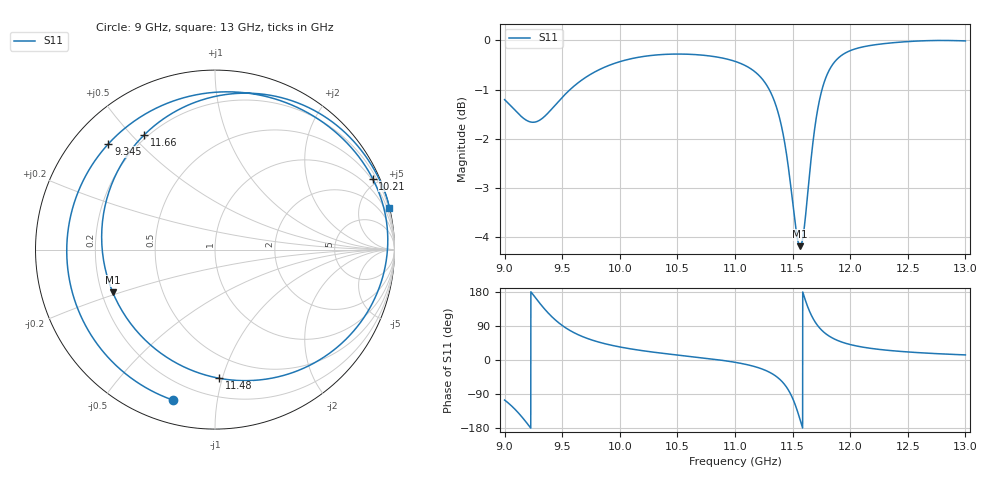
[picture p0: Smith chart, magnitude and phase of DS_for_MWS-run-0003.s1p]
! TOUCHSTONE file generated by CST DESIGN STUDIO
! Date and time: Tue Feb  4 16:41:33 2025
! Project name: C:\Work\MatlabApps\UnitCellOptimizationMatlab\CST\unitcell.cst
! Tree item: Tasks\Sweep1\SPara1\S-Parameters
! Header version: 2024
! Port assignment regex: !\s*Touchstone port\s*([0-9]+)\s*=\s*(CST MWS port|CST DES external port|CST DES block port)\s*(.+)\s* \(\"(.*)\"\)(\s*mode\s*([0-9]+))?.*
! Touchstone port assignment:
! Touchstone port 1 = CST DES external port 1 ("")
# GHz S MA R 50
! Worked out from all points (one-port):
!   4001 points, 9 GHz to 13 GHz, reference 50 ohm
!   lowest |S11| = -4.2 dB at 11.56 GHz (marker M1), VSWR 4.23, Z = 12.3 - j9.41 ohm
!   |S11| at or under -10 dB: nowhere
!   S11 on the Smith chart (normalised r, x): 9 GHz: 0.11, -0.75; 9.345 GHz: 0.10, +0.41; 10.21 GHz: 0.42, +4.62; 11.48 GHz: 0.33, -0.98; 11.66 GHz: 0.19, +0.54; 13 GHz: 0.04, +8.49
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9  0.8706 -105.7
9.098  0.8473 -132.5
9.199  0.8283 -168.6
9.268  0.8262 164.1
9.345  0.8366 135.2
9.418  0.854 111.9
9.5  0.8752 91.2
9.601  0.8983 72.3
9.712  0.9185 57.5
10  0.9516 34.4
10.205  0.9632 24.2
10.5  0.9687 13.1
11  0.9523 -6.1
11.19  0.9257 -19.1
11.314  0.8834 -34.7
11.404  0.8176 -55.5
11.48  0.7171 -88.2
11.5  0.6849 -100.9
11.532  0.6387 -126.0
11.565  0.6175 -157.4
11.607  0.654 161.2
11.657  0.7507 121.8
11.718  0.8513 90.6
11.806  0.9268 65.3
11.891  0.9584 51.5
12  0.9764 40.8
12.5  0.9975 21.2
13  0.999 13.4
